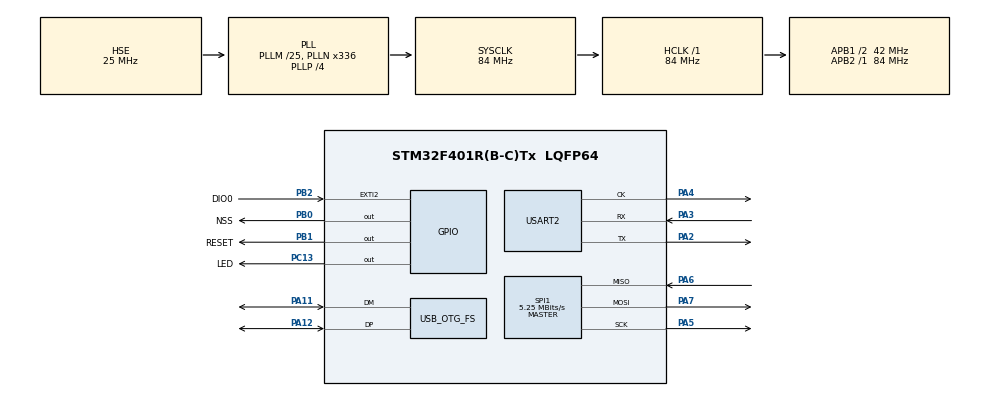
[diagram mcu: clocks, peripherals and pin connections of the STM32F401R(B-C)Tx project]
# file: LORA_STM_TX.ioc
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Mcu.Family=STM32F4
Mcu.Name=STM32F401R(B-C)Tx
Mcu.Package=LQFP64
NVIC.EXTI2_IRQn=true\:0\:0\:false\:false\:true\:true\:true\:true
NVIC.OTG_FS_IRQn=true\:0\:0\:false\:false\:true\:false\:true\:true
NVIC.PriorityGroup=NVIC_PRIORITYGROUP_4
PA11.Mode=Device_Only
PA11.Signal=USB_OTG_FS_DM
PA12.Mode=Device_Only
PA12.Signal=USB_OTG_FS_DP
PA13.Mode=Serial_Wire
PA13.Signal=SYS_JTMS-SWDIO
PA14.Mode=Serial_Wire
PA14.Signal=SYS_JTCK-SWCLK
PA2.Mode=Synchronous
PA2.Signal=USART2_TX
PA3.Mode=Synchronous
PA3.Signal=USART2_RX
PA4.Mode=Synchronous
PA4.Signal=USART2_CK
PA5.Mode=Full_Duplex_Master
PA5.Signal=SPI1_SCK
PA6.Mode=Full_Duplex_Master
PA6.Signal=SPI1_MISO
PA7.Mode=Full_Duplex_Master
PA7.Signal=SPI1_MOSI
PB0.GPIO_Label=NSS
PB0.PinState=GPIO_PIN_SET
PB0.Signal=GPIO_Output
PB1.GPIO_Label=RESET
PB1.PinState=GPIO_PIN_SET
PB1.Signal=GPIO_Output
PB2.GPIO_Label=DIO0
PB2.Signal=GPXTI2
PC13-ANTI_TAMP.GPIO_Label=LED
PC13-ANTI_TAMP.PinState=GPIO_PIN_SET
PC13-ANTI_TAMP.Signal=GPIO_Output
PH0\ -\ OSC_IN.Mode=HSE-External-Oscillator
PH0\ -\ OSC_IN.Signal=RCC_OSC_IN
PH1\ -\ OSC_OUT.Mode=HSE-External-Oscillator
PH1\ -\ OSC_OUT.Signal=RCC_OSC_OUT
ProjectManager.HeapSize=0x200
ProjectManager.StackSize=0x400
ProjectManager.TargetToolchain=STM32CubeIDE
RCC.48MHZClocksFreq_Value=48000000
RCC.AHBFreq_Value=84000000
RCC.APB1CLKDivider=RCC_HCLK_DIV2
RCC.APB1Freq_Value=42000000
RCC.APB1TimFreq_Value=84000000
RCC.APB2Freq_Value=84000000
RCC.APB2TimFreq_Value=84000000
RCC.CortexFreq_Value=84000000
RCC.HCLKFreq_Value=84000000
RCC.HSE_VALUE=25000000
RCC.HSI_VALUE=16000000
RCC.LSE_VALUE=32768
RCC.PLLM=25
RCC.PLLN=336
RCC.PLLP=RCC_PLLP_DIV4
RCC.PLLQ=7
RCC.SYSCLKFreq_VALUE=84000000
RCC.SYSCLKSource=RCC_SYSCLKSOURCE_PLLCLK
RCC.VCOOutputFreq_Value=336000000
SPI1.BaudRatePrescaler=SPI_BAUDRATEPRESCALER_16
SPI1.CalculateBaudRate=5.25 MBits/s
SPI1.Direction=SPI_DIRECTION_2LINES
SPI1.Mode=SPI_MODE_MASTER
SPI1.VirtualType=VM_MASTER
USART2.VirtualMode=VM_SYNC
USB_DEVICE.CLASS_NAME_FS=CDC
USB_DEVICE.VirtualMode=Cdc
USB_DEVICE.VirtualModeFS=Cdc_FS
USB_OTG_FS.VirtualMode=Device_Only
VP_CRC_VS_CRC.Mode=CRC_Activate
VP_USB_DEVICE_VS_USB_DEVICE_CDC_FS.Mode=CDC_FS
board=custom

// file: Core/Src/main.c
/* USER CODE BEGIN Header */
/**
  *******************************************************************************
  * @file           : main.c
  * @brief          : Main program body
  *******************************************************************************
  * @attention
  *
  * Copyright (c) 2025 STMicroelectronics.
  * All rights reserved.
  *
  * This software is licensed under terms that can be found in the LICENSE file
  * in the root directory of this software component.
  * If no LICENSE file comes with this software, it is provided AS-IS.
  *
  *******************************************************************************
  */
/* USER CODE END Header */
#include "main.h"
#include "usb_device.h"

/* USER CODE BEGIN Includes */
#include "lora_config.h"
#include "crc_calculator.h"
#include "ack_handler.h"
/* USER CODE END Includes */

CRC_HandleTypeDef hcrc;

SPI_HandleTypeDef hspi1;

USART_HandleTypeDef husart2;

/* USER CODE BEGIN PV */
LoRa myLoRa;
uint32_t lastTxTime = 0;
const uint32_t txInterval = 5000;
bool messageSent = false;

char buffer[256];
/* USER CODE END PV */

void SystemClock_Config(void);
static void MX_GPIO_Init(void);
static void MX_SPI1_Init(void);
static void MX_USART2_Init(void);
static void MX_CRC_Init(void);
/* USER CODE BEGIN PFP */
void HAL_GPIO_EXTI_Callback(uint16_t GPIO_Pin);
/* USER CODE END PFP */

int main(void)
{

    /* MCU Configuration--------------------------------------------------------*/

    /* Reset of all peripherals, Initializes the Flash interface and the Systick. */
    HAL_Init();

    /* Configure the system clock */
    SystemClock_Config();

    /* Initialize all configured peripherals */
    MX_GPIO_Init();
    MX_SPI1_Init();
    MX_USART2_Init();
    MX_USB_DEVICE_Init();
    MX_CRC_Init();
    /* USER CODE BEGIN 2 */

    LoRa_Init();

    uint8_t messageBuffer[256];
    const char originalMessage[] = "Hello, LoRa!";
    uint8_t msgLen = strlen(originalMessage);

    uint32_t crc = Calculate_CRC((const uint8_t *)originalMessage, msgLen);
    uint8_t totalLen = msgLen + 4; // 4 bytes for CRC

    memcpy(messageBuffer, originalMessage, msgLen);

    messageBuffer[msgLen] = crc & 0xFF;
    messageBuffer[msgLen + 1] = (crc >> 8) & 0xFF;
    messageBuffer[msgLen + 2] = (crc >> 16) & 0xFF;
    messageBuffer[msgLen + 3] = (crc >> 24) & 0xFF;

    /* USER CODE END 2 */

    /* Infinite loop */
    while (1)
    {

        /* USER CODE BEGIN 3 */
        uint32_t currentTime = HAL_GetTick();

        if (!messageSent && (currentTime - lastTxTime >= txInterval)) {
            HAL_GPIO_WritePin(LED_GPIO_Port, LED_Pin, GPIO_PIN_RESET);
            sprintf(buffer, "TX: %s\r\n", originalMessage);
            CDC_Transmit_FS((uint8_t*)buffer, strlen(buffer));

            // Send the message and wait for ACK
            bool ackReceived = sendMessageAndWaitForAck(&myLoRa, messageBuffer, totalLen);

            HAL_GPIO_WritePin(LED_GPIO_Port, LED_Pin, GPIO_PIN_SET);
            if (ackReceived) {
                sprintf(buffer, "ACK received successfully.\r\n");
                messageSent = true;
            } else {
                sprintf(buffer, "No ACK received.\r\n");
            }
            CDC_Transmit_FS((uint8_t*)buffer, strlen(buffer));

            lastTxTime = currentTime;
        }
        HAL_Delay(10);

    }
    /* USER CODE END 3 */
}

void SystemClock_Config(void)
{
  RCC_OscInitTypeDef RCC_OscInitStruct = {0};
  RCC_ClkInitTypeDef RCC_ClkInitStruct = {0};

  /** Configure the main internal regulator output voltage
  */
  __HAL_RCC_PWR_CLK_ENABLE();
  __HAL_PWR_VOLTAGESCALING_CONFIG(PWR_REGULATOR_VOLTAGE_SCALE2);

  /** Initializes the RCC Oscillators according to the specified parameters
  * in the RCC_OscInitTypeDef structure.
  */
  RCC_OscInitStruct.OscillatorType = RCC_OSCILLATORTYPE_HSE;
  RCC_OscInitStruct.HSEState = RCC_HSE_ON;
  RCC_OscInitStruct.PLL.PLLState = RCC_PLL_ON;
  RCC_OscInitStruct.PLL.PLLSource = RCC_PLLSOURCE_HSE;
  RCC_OscInitStruct.PLL.PLLM = 25;
  RCC_OscInitStruct.PLL.PLLN = 336;
  RCC_OscInitStruct.PLL.PLLP = RCC_PLLP_DIV4;
  RCC_OscInitStruct.PLL.PLLQ = 7;
  if (HAL_RCC_OscConfig(&RCC_OscInitStruct) != HAL_OK)
  {
    Error_Handler();
  }

  /** Initializes the CPU, AHB and APB buses clocks
  */
  RCC_ClkInitStruct.ClockType = RCC_CLOCKTYPE_HCLK|RCC_CLOCKTYPE_SYSCLK
                              |RCC_CLOCKTYPE_PCLK1|RCC_CLOCKTYPE_PCLK2;
  RCC_ClkInitStruct.SYSCLKSource = RCC_SYSCLKSOURCE_PLLCLK;
  RCC_ClkInitStruct.AHBCLKDivider = RCC_SYSCLK_DIV1;
  RCC_ClkInitStruct.APB1CLKDivider = RCC_HCLK_DIV2;
  RCC_ClkInitStruct.APB2CLKDivider = RCC_HCLK_DIV1;

  if (HAL_RCC_ClockConfig(&RCC_ClkInitStruct, FLASH_LATENCY_2) != HAL_OK)
  {
    Error_Handler();
  }
}

static void MX_CRC_Init(void)
{

    hcrc.Instance = CRC;

    if (HAL_CRC_Init(&hcrc) != HAL_OK)
    {
        Error_Handler();
    }
}

static void MX_SPI1_Init(void)
{

    /* SPI1 parameter configuration*/
    hspi1.Instance = SPI1;
    hspi1.Init.Mode = SPI_MODE_MASTER;
    hspi1.Init.Direction = SPI_DIRECTION_2LINES;
    hspi1.Init.DataSize = SPI_DATASIZE_8BIT;
    hspi1.Init.CLKPolarity = SPI_POLARITY_LOW;
    hspi1.Init.CLKPhase = SPI_PHASE_1EDGE;
    hspi1.Init.NSS = SPI_NSS_SOFT;
    hspi1.Init.BaudRatePrescaler = SPI_BAUDRATEPRESCALER_16;
    hspi1.Init.FirstBit = SPI_FIRSTBIT_MSB;
    hspi1.Init.TIMode = SPI_TIMODE_DISABLE;
    hspi1.Init.CRCCalculation = SPI_CRCCALCULATION_DISABLE;
    hspi1.Init.CRCPolynomial = 10;
    if (HAL_SPI_Init(&hspi1) != HAL_OK)
    {
        Error_Handler();
    }
}

static void MX_USART2_Init(void)
{

    husart2.Instance = USART2;
    husart2.Init.BaudRate = 115200;
    husart2.Init.WordLength = USART_WORDLENGTH_8B;
    husart2.Init.StopBits = USART_STOPBITS_1;
    husart2.Init.Parity = USART_PARITY_NONE;
    husart2.Init.Mode = USART_MODE_TX_RX;
    husart2.Init.CLKPolarity = USART_POLARITY_LOW;
    husart2.Init.CLKPhase = USART_PHASE_1EDGE;
    husart2.Init.CLKLastBit = USART_LASTBIT_DISABLE;
    if (HAL_USART_Init(&husart2) != HAL_OK)
    {
        Error_Handler();
    }
}

static void MX_GPIO_Init(void)
{
    GPIO_InitTypeDef GPIO_InitStruct = {0};

    /* GPIO Ports Clock Enable */
    __HAL_RCC_GPIOC_CLK_ENABLE();
    __HAL_RCC_GPIOH_CLK_ENABLE();
    __HAL_RCC_GPIOA_CLK_ENABLE();
    __HAL_RCC_GPIOB_CLK_ENABLE();

    /*Configure GPIO pin Output Level */
    HAL_GPIO_WritePin(LED_GPIO_Port, LED_Pin, GPIO_PIN_SET);

    /*Configure GPIO pin Output Level */
    HAL_GPIO_WritePin(GPIOB, NSS_Pin|RESET_Pin, GPIO_PIN_SET);

    /*Configure GPIO pin : LED_Pin */
    GPIO_InitStruct.Pin = LED_Pin;
    GPIO_InitStruct.Mode = GPIO_MODE_OUTPUT_PP;
    GPIO_InitStruct.Pull = GPIO_NOPULL;
    GPIO_InitStruct.Speed = GPIO_SPEED_FREQ_LOW;
    HAL_GPIO_Init(LED_GPIO_Port, &GPIO_InitStruct);

    /*Configure GPIO pins : NSS_Pin RESET_Pin */
    GPIO_InitStruct.Pin = NSS_Pin|RESET_Pin;
    GPIO_InitStruct.Mode = GPIO_MODE_OUTPUT_PP;
    GPIO_InitStruct.Pull = GPIO_NOPULL;
    GPIO_InitStruct.Speed = GPIO_SPEED_FREQ_LOW;
    HAL_GPIO_Init(GPIOB, &GPIO_InitStruct);

    /* EXTI interrupt init*/
    HAL_NVIC_SetPriority(EXTI2_IRQn, 0, 0);
    HAL_NVIC_EnableIRQ(EXTI2_IRQn);

}

void Error_Handler(void)
{
    __disable_irq();
    while (1)
    {
    }
}
